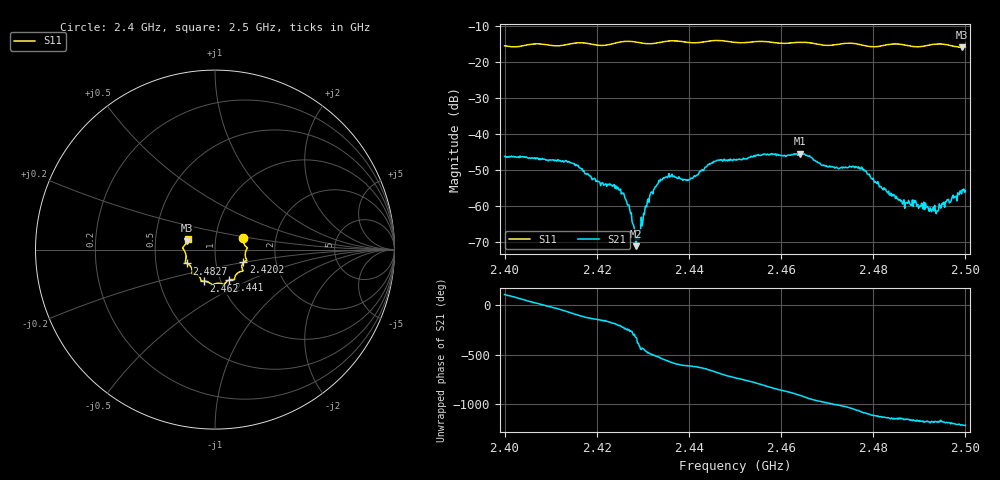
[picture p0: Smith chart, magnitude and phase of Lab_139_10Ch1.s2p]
# Hz S RI R 50
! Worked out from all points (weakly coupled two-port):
!   601 points, 2.4 GHz to 2.5 GHz, reference 50 ohm
!   highest |S21| = -45.36 dB at 2.4642 GHz (marker M1); lowest = -71.1 dB at 2.4285 GHz (marker M2)
!   lowest |S11| = -15.8 dB at 2.4992 GHz (marker M3), VSWR 1.39, Z = 36.4 + j3.67 ohm
!   |S11| at or under -10 dB: start of sweep to end of sweep
!   S12 and S22 are empty: the file has one direction only
!   S11 on the Smith chart (normalised r, x): 2.4 GHz: 1.36, +0.17; 2.4202 GHz: 1.36, -0.20; 2.441 GHz: 1.10, -0.39; 2.462 GHz: 0.84, -0.30; 2.4827 GHz: 0.72, -0.11; 2.5 GHz: 0.73, +0.09
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2.4e9  0.1582 0.0623  -0.00169 0.00461  0 0  0 0
2.4135e9  0.1708 -0.0452  0.00196 -0.00373  0 0  0 0
2.416667e9  0.1773 -0.0608  -0.00102 -0.00314  0 0  0 0
2.420167e9  0.1583 -0.0711  -0.00176 -0.00138  0 0  0 0
2.4255e9  0.1555 -0.1162  -0.00115 0.00101  0 0  0 0
2.427e9  0.1559 -0.1192  -0.000396 0.000957  0 0  0 0
2.4285e9  0.1495 -0.1203  0.000228 0.00016  0 0  0 0
2.429e9  0.1456 -0.1212  0.000318 -0.00014  0 0  0 0
2.431e9  0.1267 -0.1305  -0.000671 -0.00101  0 0  0 0
2.433333e9  0.1114 -0.151  -0.00198 -0.000696  0 0  0 0
2.441e9  0.0785 -0.1698  -0.000346 0.00251  0 0  0 0
2.445833e9  0.0502 -0.1954  0.00314 0.00284  0 0  0 0
2.45e9  0.028 -0.1874  0.00426 -0.00117  0 0  0 0
2.462e9  -0.0607 -0.1756  -0.00496 -0.00133  0 0  0 0
2.464167e9  -0.0744 -0.1755  -0.00521 0.00141  0 0  0 0
2.466667e9  -0.0788 -0.168  -0.00271 0.00386  0 0  0 0
2.477333e9  -0.1268 -0.1215  0.0033 -8.48e-05  0 0  0 0
2.482667e9  -0.1564 -0.077  0.000852 -0.0015  0 0  0 0
2.483333e9  -0.1606 -0.075  0.000737 -0.00144  0 0  0 0
2.493667e9  -0.1799 0.00816  -0.000162 -0.000771  0 0  0 0
2.499167e9  -0.1547 0.049  -0.00101 -0.00109  0 0  0 0
2.5e9  -0.1522 0.061  -0.00127 -0.00105  0 0  0 0
